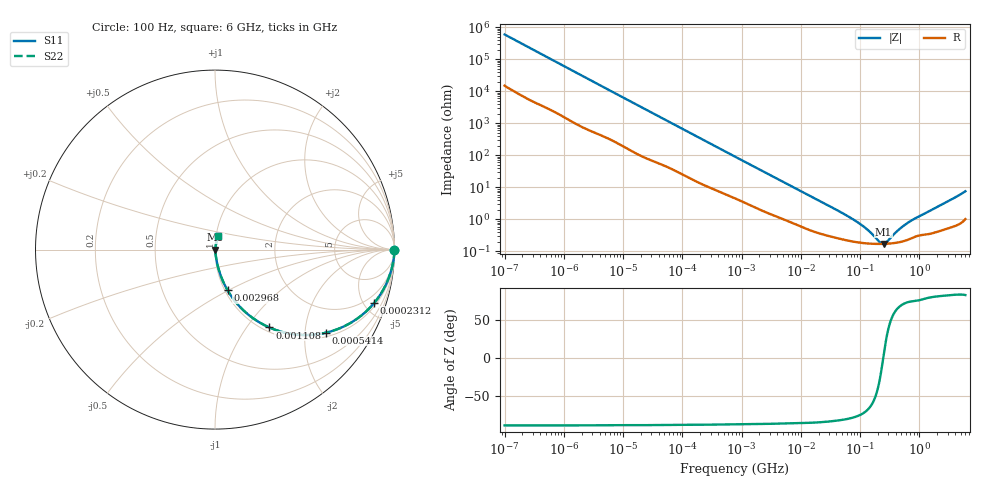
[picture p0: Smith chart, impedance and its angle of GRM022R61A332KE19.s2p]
!Murata Part Number: GRM022R61A332KE19
!These Parameters are Measured in Series Mode Connection
!Data Generated on Mar 30, 2021
!  o--ll--o
!Port1  Port2
!  o------o
!Operation Temp=25[degC], DC Bias Voltage=0[V]
!Freq. Start=100[Hz] Stop=6[GHz] 401[Steps]
# Hz S RI R 50
!Freq.(Hz) S11(Real) S11(Imag) S21(Real) S21(Imag) S12(Real) S12(Imag) S22(Real) S22(Imag)
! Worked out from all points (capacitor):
!   401 points, 100 Hz to 6 GHz, reference 50 ohm
!   read as one part in series: C = 2.68 nF near 109 Hz
!   lowest |Z| = 173 mohm at 249.8 MHz (marker M1)
!   series resonance near 246.4 MHz, so ESL is about 160 pH
!   S11 on the Smith chart (normalised r, x): 100 Hz: open; 231.2 kHz: 1.24, -5.90; 541.4 kHz: 1.12, -2.57; 1.108 MHz: 1.07, -1.29; 2.968 MHz: 1.03, -0.50; 6 GHz: 1.02, +0.15
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100  1 -0.000169  4.3e-06 0.000169  4.3e-06 0.000169  1 -0.000169
2008  0.9999 -0.00324  9.14e-05 0.00324  9.14e-05 0.00324  0.9999 -0.00324
40335  0.9941 -0.0611  0.00587 0.0611  0.00587 0.0611  0.9941 -0.0611
103284  0.9714 -0.1488  0.0286 0.1488  0.0286 0.1488  0.9714 -0.1488
231233  0.8875 -0.2966  0.1125 0.2966  0.1125 0.2966  0.8875 -0.2966
345986  0.7886 -0.3873  0.2114 0.3873  0.2114 0.3873  0.7886 -0.3873
541393  0.6187 -0.4628  0.3813 0.4628  0.3813 0.4628  0.6187 -0.4628
774597  0.4556 -0.4736  0.5444 0.4736  0.5444 0.4736  0.4556 -0.4736
1108252  0.3027 -0.4339  0.6973 0.4339  0.6973 0.4339  0.3027 -0.4339
1813585  0.1514 -0.3317  0.8486 0.3317  0.8486 0.3317  0.1514 -0.3317
2967816  0.0703 -0.2271  0.9297 0.2271  0.9297 0.2271  0.0703 -0.2271
6353432  0.0221 -0.1156  0.9779 0.1156  0.9779 0.1156  0.0221 -0.1156
1.555665e7  0.00681 -0.0497  0.9932 0.0497  0.9932 0.0497  0.00681 -0.0497
8.527865e7  0.00203 -0.00859  0.998 0.00859  0.998 0.00859  0.00203 -0.00859
1.334425e8  0.0018 -0.00445  0.9982 0.00445  0.9982 0.00445  0.0018 -0.00445
2.183701e8  0.00172 -0.000829  0.9983 0.000829  0.9983 0.000829  0.00172 -0.000829
2.497637e8  0.00173 9.3e-05  0.9983 -9.3e-05  0.9983 -9.3e-05  0.00173 9.3e-05
2.731619e8  0.00174 0.000708  0.9983 -0.000708  0.9983 -0.000708  0.00174 0.000708
3.124326e8  0.00177 0.00164  0.9982 -0.00164  0.9982 -0.00164  0.00177 0.00164
4.470121e8  0.00194 0.00431  0.9981 -0.00431  0.9981 -0.00431  0.00194 0.00431
6.994765e8  0.00254 0.00834  0.9975 -0.00834  0.9975 -0.00834  0.00254 0.00834
6e9  0.0156 0.0732  0.9844 -0.0732  0.9844 -0.0732  0.0156 0.0732
